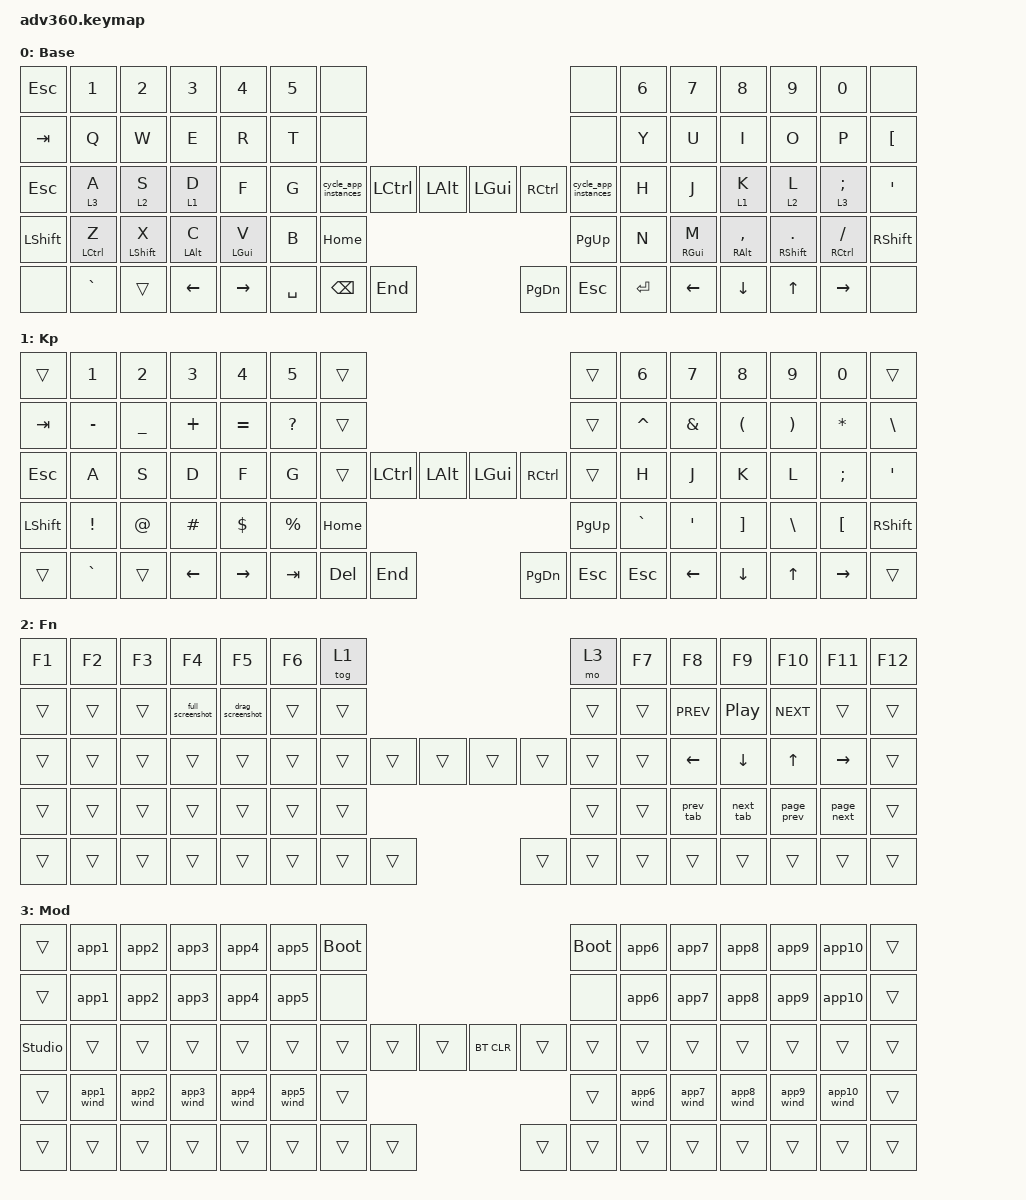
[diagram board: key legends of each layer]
#include <dt-bindings/zmk/stp.h>
#include <behaviors.dtsi>
#include <dt-bindings/zmk/backlight.h>
#include <dt-bindings/zmk/bt.h>
#include <dt-bindings/zmk/keys.h>

/ {
    behaviors {
        #include "macros.dtsi"
      #include "version.dtsi"

        hm: homerow_mods {
            compatible = "zmk,behavior-hold-tap";
            label = "HOMEROW_MODS";
            #binding-cells = <2>;
            tapping-term-ms = <250>;
            quick_tap_ms = <245>;
            flavor = "tap-preferred";
            bindings = <&kp>, <&kp>;
        };

        layer_shift: layer_shift {
            compatible = "zmk,behavior-hold-tap";
            label = "LAYER_SHIFT";
            bindings = <&none>, <&none>;

            #binding-cells = <2>;
            tapping-term-ms = <250>;
            flavor = "tap-preferred";
        };
    };

    macros {
        full_screenshot: new_macro {
            compatible = "zmk,behavior-macro";
            #binding-cells = <0>;
            bindings =
                <&kp LEFT_SHIFT &kp LEFT_GUI &kp NUMBER_3>,
                <&macro_press>;

            label = "NEW_MACRO";
        };

        drag_screenshot: drag_screenshot {
            compatible = "zmk,behavior-macro";
            #binding-cells = <0>;
            bindings =
                <&kp LEFT_SHIFT &kp LEFT_GUI &kp NUMBER_4>,
                <&macro_press>;

            label = "DRAG_SCREENSHOT";
        };

        prev_tab: prev_tab {
            compatible = "zmk,behavior-macro";
            #binding-cells = <0>;
            bindings = <&kp LC(LS(TAB))>;
            label = "PREV_TAB";
        };

        next_tab: next_tab {
            compatible = "zmk,behavior-macro";
            #binding-cells = <0>;
            bindings = <&kp LC(TAB)>;
            label = "NEXT_TAB";
        };

        cycle_app_instances: cycle_app_instances {
            compatible = "zmk,behavior-macro";
            #binding-cells = <0>;
            bindings = <&kp LG(GRAVE)>;
            label = "CYCLE_APP_INSTANCES";
        };

        page_prev: page_back {
            compatible = "zmk,behavior-macro";
            #binding-cells = <0>;
            bindings = <&kp LG(LEFT_ARROW)>;
            label = "PAGE_BACK";
        };

        page_next: page_next {
            compatible = "zmk,behavior-macro";
            #binding-cells = <0>;
            bindings = <&kp LG(RIGHT_ARROW)>;
            label = "PAGE_NEXT";
        };

        app1: app_1 {
            compatible = "zmk,behavior-macro";
            #binding-cells = <0>;
            bindings = <&kp LA(F1)>;
            label = "APP_1";
        };

        app2: app_2 {
            compatible = "zmk,behavior-macro";
            #binding-cells = <0>;
            bindings = <&kp LA(F2)>;
            label = "APP_2";
        };

        app3: app_3 {
            compatible = "zmk,behavior-macro";
            #binding-cells = <0>;
            bindings = <&kp LA(F3)>;
            label = "APP_3";
        };

        app4: app4 {
            compatible = "zmk,behavior-macro";
            #binding-cells = <0>;
            bindings = <&kp LA(F4)>;
            label = "APP4";
        };

        app5: app5 {
            compatible = "zmk,behavior-macro";
            #binding-cells = <0>;
            bindings = <&kp LA(F5)>;
            label = "APP5";
        };

        app6: app6 {
            compatible = "zmk,behavior-macro";
            #binding-cells = <0>;
            bindings = <&kp LA(F6)>;
            label = "APP6";
        };

        app7: app7 {
            compatible = "zmk,behavior-macro";
            #binding-cells = <0>;
            bindings = <&kp LA(F7)>;
            label = "APP7";
        };

        app8: app8 {
            compatible = "zmk,behavior-macro";
            #binding-cells = <0>;
            bindings = <&kp LA(F8)>;
            label = "APP8";
        };

        app9: app9 {
            compatible = "zmk,behavior-macro";
            #binding-cells = <0>;
            bindings = <&kp LA(F9)>;
            label = "APP9";
        };

        app10: app0 {
            compatible = "zmk,behavior-macro";
            #binding-cells = <0>;
            bindings = <&kp LA(F10)>;
            label = "APP0";
        };

        app1_wind: app_1_wind {
            compatible = "zmk,behavior-macro";
            #binding-cells = <0>;
            bindings = <&kp LA(LG(F1))>;
            label = "APP_1_WIND";
        };

        app2_wind: app_2_wind {
            compatible = "zmk,behavior-macro";
            #binding-cells = <0>;
            bindings = <&kp LA(LG(F2))>;
            label = "APP_2_WIND";
        };

        app3_wind: app_3_wind {
            compatible = "zmk,behavior-macro";
            #binding-cells = <0>;
            bindings = <&kp LA(LG(F3))>;
            label = "APP_3_WIND";
        };

        app4_wind: app4_wind {
            compatible = "zmk,behavior-macro";
            #binding-cells = <0>;
            bindings = <&kp LA(LG(F4))>;
            label = "APP4_WIND";
        };

        app5_wind: app5_wind {
            compatible = "zmk,behavior-macro";
            #binding-cells = <0>;
            bindings = <&kp LA(LG(F5))>;
            label = "APP5_WIND";
        };

        app6_wind: app6_wind {
            compatible = "zmk,behavior-macro";
            #binding-cells = <0>;
            bindings = <&kp LA(LG(F6))>;
            label = "APP6_WIND";
        };

        app7_wind: app7_wind {
            compatible = "zmk,behavior-macro";
            #binding-cells = <0>;
            bindings = <&kp LA(LG(F7))>;
            label = "APP7_WIND";
        };

        app8_wind: app8_wind {
            compatible = "zmk,behavior-macro";
            #binding-cells = <0>;
            bindings = <&kp LA(LG(F8))>;
            label = "APP8_WIND";
        };

        app9_wind: app9_wind {
            compatible = "zmk,behavior-macro";
            #binding-cells = <0>;
            bindings = <&kp LA(LG(F9))>;
            label = "APP9_WIND";
        };

        app10_wind: app0_wind {
            compatible = "zmk,behavior-macro";
            #binding-cells = <0>;
            bindings = <&kp LA(LG(F10))>;
            label = "APP0_WIND";
        };
    };

    keymap {
        compatible = "zmk,keymap";

        default_layer {
            display-name = "Base";
            bindings = <
&kp ESCAPE  &kp N1       &kp N2    &kp N3          &kp N4          &kp N5  &none                                                                                          &none                 &kp N6  &kp N7           &kp N8               &kp N9        &kp N0                  &none
&kp TAB     &kp Q        &kp W     &kp E           &kp R           &kp T   &none                                                                                          &none                 &kp Y   &kp U            &kp I                &kp O         &kp P                   &kp LEFT_BRACKET
&kp ESCAPE  &lt 3 A      &lt 2 S   &lt 1 D         &kp F           &kp G   &cycle_app_instances             &kp LCTRL      &kp LALT    &kp LGUI   &kp RCTRL               &cycle_app_instances  &kp H   &kp J            &lt 1 K              &lt 2 L       &lt 3 SEMICOLON         &kp SQT
&kp LSHFT   &mt LCTRL Z  &mt LSHFT X &mt LEFT_ALT C  &hm LEFT_GUI V  &kp B                                                 &kp HOME    &kp PG_UP                                                 &kp N   &hm RIGHT_GUI M  &hm RIGHT_ALT COMMA  &mt RSHFT PERIOD    &mt RIGHT_CONTROL FSLH  &kp RSHFT
&none       &kp GRAVE    &trans     &kp LEFT        &kp RIGHT                                     &kp SPACE  &kp BACKSPACE  &kp END     &kp PG_DN  &kp ESCAPE  &kp RETURN                                &kp LEFT_ARROW   &kp DOWN             &kp UP_ARROW  &kp RIGHT               &none
            >;
        };

        Symbols {
            display-name = "Kp";
            bindings = <
&trans     &kp N1           &kp N2          &kp N3    &kp N4      &kp N5        &trans                                                                     &trans  &kp N6     &kp N7         &kp N8                &kp N9                 &kp N0            &trans
&kp TAB    &kp MINUS        &kp UNDERSCORE  &kp PLUS  &kp EQUAL   &kp QUESTION  &trans                                                                     &trans  &kp CARET  &kp AMPERSAND  &kp LEFT_PARENTHESIS  &kp RIGHT_PARENTHESIS  &kp ASTERISK      &kp BSLH
&kp ESC    &kp A            &kp S           &kp D     &kp F       &kp G         &trans           &kp LCTRL  &kp LALT    &kp LGUI   &kp RCTRL               &trans  &kp H      &kp J          &kp K                 &kp L                  &kp SEMICOLON     &kp SQT
&kp LSHFT  &kp EXCLAMATION  &kp AT_SIGN     &kp HASH  &kp DOLLAR  &kp PERCENT                               &kp HOME    &kp PG_UP                                  &kp GRAVE  &kp SQT        &kp RIGHT_BRACKET     &kp BACKSLASH          &kp LEFT_BRACKET  &kp RSHFT
&trans     &kp GRAVE        &trans          &kp LEFT  &kp RIGHT                         &kp TAB  &kp DEL    &kp END     &kp PG_DN  &kp ESCAPE  &kp ESCAPE                     &kp LEFT       &kp DOWN              &kp UP_ARROW           &kp RIGHT         &trans
            >;
        };

        Dev {
            display-name = "Fn";
            bindings = <
&kp F1  &kp F2  &kp F3  &kp F4            &kp F5            &kp F6  &tog 1                                                    &mo 3   &kp F7  &kp F8          &kp F9            &kp F10       &kp F11          &kp F12
&trans  &trans  &trans  &full_screenshot  &drag_screenshot  &trans  &trans                                                    &trans  &trans  &kp C_PREV      &kp C_PLAY_PAUSE  &kp C_NEXT    &trans           &trans
&trans  &trans  &trans  &trans            &trans            &trans  &trans          &trans  &trans    &trans  &trans          &trans  &trans  &kp LEFT_ARROW  &kp DOWN_ARROW    &kp UP_ARROW  &kp RIGHT_ARROW  &trans
&trans  &trans  &trans  &trans            &trans            &trans                          &trans    &trans                          &trans  &prev_tab       &next_tab         &page_prev    &page_next       &trans
&trans  &trans  &trans  &trans            &trans                            &trans  &trans  &trans    &trans  &trans  &trans                  &trans          &trans            &trans        &trans           &trans
            >;
        };

        Function {
            display-name = "Mod";
            bindings = <
&trans          &app1       &app2       &app3       &app4       &app5       &bootloader                                                        &bootloader  &app6       &app7       &app8       &app9       &app10       &trans
&trans          &app1       &app2       &app3       &app4       &app5       &none                                                              &none        &app6       &app7       &app8       &app9       &app10       &trans
&studio_unlock  &trans      &trans      &trans      &trans      &trans      &trans               &trans  &trans    &bt BT_CLR  &trans          &trans       &trans      &trans      &trans      &trans      &trans       &trans
&trans          &app1_wind  &app2_wind  &app3_wind  &app4_wind  &app5_wind                               &trans    &trans                                   &app6_wind  &app7_wind  &app8_wind  &app9_wind  &app10_wind  &trans
&trans          &trans      &trans      &trans      &trans                               &trans  &trans  &trans    &trans      &trans  &trans                           &trans      &trans      &trans      &trans       &trans
            >;
        };
    };
};


&mt {
    tapping-term-ms = <260>;
    quick-tap-ms = <205>;
    flavor = "tap-preferred";
};

&lt {
    tapping-term-ms = <260>;
    flavor = "tap-preferred";
};


#include <dt-bindings/zmk/stp.h>
#include <behaviors.dtsi>
#include <dt-bindings/zmk/backlight.h>
#include <dt-bindings/zmk/bt.h>
#include <dt-bindings/zmk/keys.h>
#include <dt-bindings/zmk/rgb.h>
